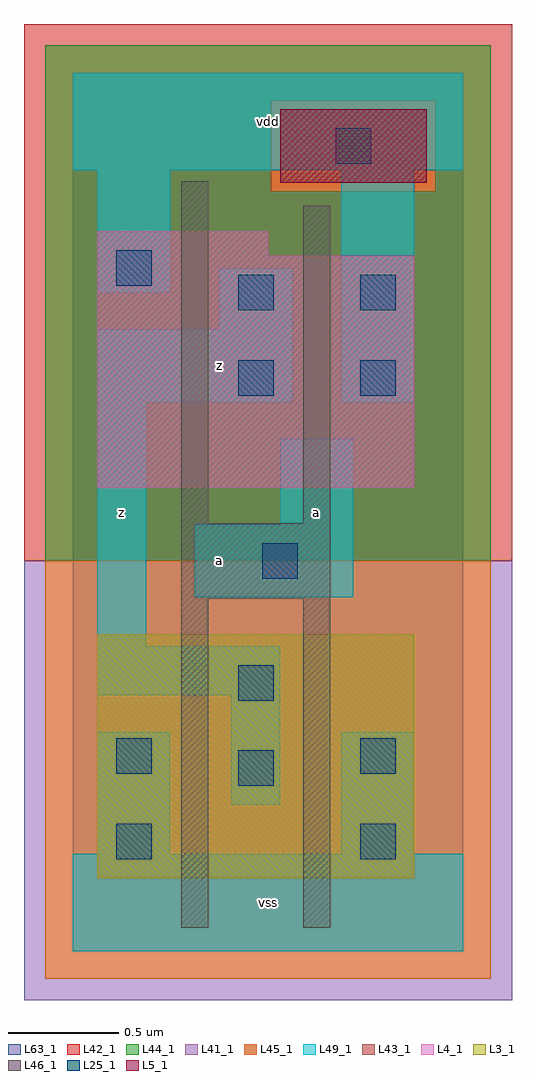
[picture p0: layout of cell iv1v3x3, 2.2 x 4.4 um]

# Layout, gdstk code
import gdstk
lib = gdstk.Library(unit=1e-6, precision=1e-09)
def R(c, l, rs):  # rectangles x0, y0, x1, y1
    for r in rs: c.add(gdstk.rectangle(r[:2], r[2:], *l))
L3_1 = (3, 1)
L4_1 = (4, 1)
L5_1 = (5, 1)
L25_1 = (25, 1)
L41_1 = (41, 1)
L42_1 = (42, 1)
L43_1 = (43, 1)
L44_1 = (44, 1)
L45_1 = (45, 1)
L46_1 = (46, 1)
L49_1 = (49, 1)
L63_1 = (63, 1)

iv1v3x3 = lib.new_cell('iv1v3x3')
R(iv1v3x3, L3_1, [(0.11,0.33,1.54,1.43)])
R(iv1v3x3, L4_1, [(0.11,2.09,1.54,3.135), (0.11,3.135,0.88,3.245)])
R(iv1v3x3, L5_1, [(0.935,3.465,1.595,3.795)])
R(iv1v3x3, L25_1, [(0.195,0.415,0.355,0.575), (1.295,0.415,1.455,0.575), (0.745,0.745,0.905,0.905), (0.195,0.8,0.355,0.96), (1.295,0.8,1.455,0.96), (0.745,1.13,0.905,1.29), (0.855,1.68,1.015,1.84), (0.745,2.505,0.905,2.665), (1.295,2.505,1.455,2.665), (0.745,2.89,0.905,3.05), (1.295,2.89,1.455,3.05), (0.195,3,0.355,3.16), (1.185,3.55,1.345,3.71)])
R(iv1v3x3, L41_1, [(-0.22,-0.22,1.98,1.76)])
R(iv1v3x3, L42_1, [(-0.22,1.76,1.98,4.18)])
R(iv1v3x3, L43_1, [(0.11,0.33,1.54,1.43), (0.11,2.09,1.54,3.135), (0.11,3.135,0.88,3.245), (0.935,3.465,1.595,3.795)])
R(iv1v3x3, L44_1, [(-0.125,1.76,1.885,3.425), (-0.125,3.425,0.895,3.835), (1.635,3.425,1.885,3.835), (-0.125,3.835,1.885,4.085)])
R(iv1v3x3, L45_1, [(-0.125,-0.125,1.885,1.76), (0.895,3.425,1.635,3.835)])
R(iv1v3x3, L46_1, [(0.49,0.105,0.61,1.59), (1.04,0.105,1.16,1.59), (0.49,1.59,1.16,1.93), (0.49,1.93,0.61,3.47), (1.04,1.93,1.16,3.36)])
R(iv1v3x3, L49_1, [(0,0,1.76,0.44), (0.11,0.44,0.44,0.99), (1.21,0.44,1.54,0.99), (0.715,0.66,0.935,1.155), (0.11,1.155,0.935,1.375), (0.11,1.375,0.33,2.475), (0.55,1.595,1.265,1.925), (0.935,1.925,1.265,2.31), (0.11,2.475,0.99,2.805), (1.21,2.475,1.54,3.52), (0.66,2.805,0.99,3.08), (0.11,2.97,0.44,3.52), (0,3.52,1.76,3.96)])
R(iv1v3x3, L63_1, [(0,0,1.76,3.96)])
iv1v3x3.add(gdstk.Label('z', (0.22,1.98), layer=49, texttype=1))
iv1v3x3.add(gdstk.Label('a', (0.66,1.76), layer=49, texttype=1))
iv1v3x3.add(gdstk.Label('z', (0.66,2.64), layer=49, texttype=1))
iv1v3x3.add(gdstk.Label('vss', (0.88,0.22), layer=49, texttype=1))
iv1v3x3.add(gdstk.Label('a', (1.1,1.98), layer=49, texttype=1))
iv1v3x3.add(gdstk.Label('vdd', (0.88,3.74), layer=49, texttype=1))

lib.write_gds('iv1v3x3.gds')
